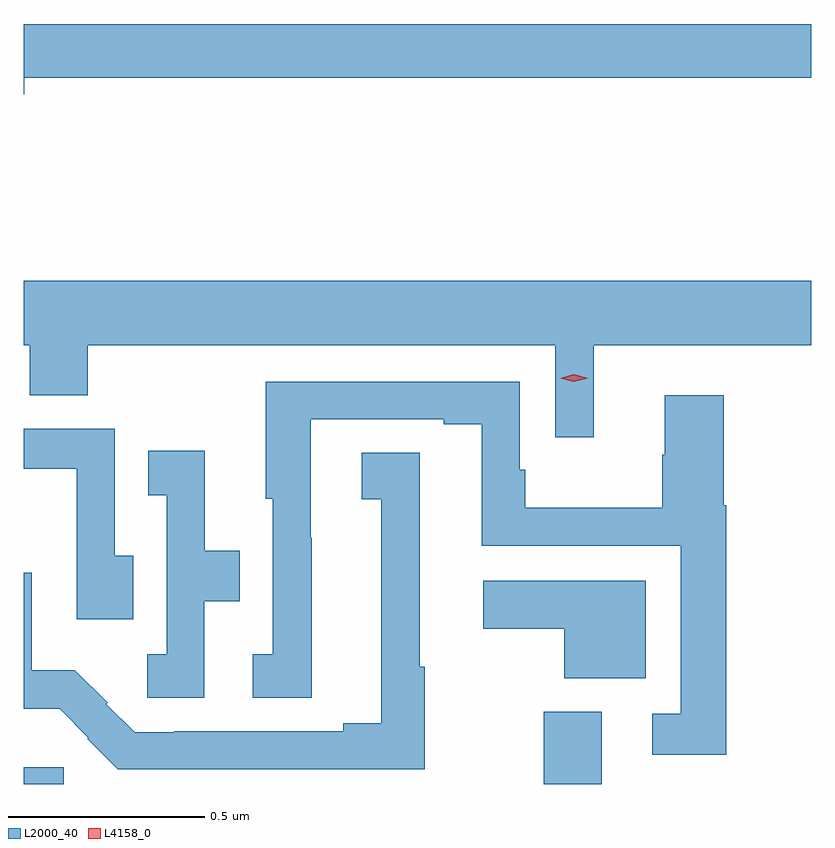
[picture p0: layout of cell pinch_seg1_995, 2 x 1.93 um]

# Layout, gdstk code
import gdstk
lib = gdstk.Library(unit=1e-6, precision=1e-09)
def R(c, l, rs):  # rectangles x0, y0, x1, y1
    for r in rs: c.add(gdstk.rectangle(r[:2], r[2:], *l))
def P(c, l, *ps):  # polygons
    for p in ps: c.add(gdstk.Polygon(p, *l))
L2000_40 = (2000, 40)
L4158_0 = (4158, 0)

pinch_seg1_995 = lib.new_cell('pinch_seg1_995')
R(pinch_seg1_995, L2000_40, [(328.449,510.658,328.551,510.7), (329.77,510.658,329.917,510.841)])
P(pinch_seg1_995, L2000_40, [(328.45,512.452),(330.449,512.452),(330.449,512.588),(328.449,512.588),(328.449,512.41),(328.45,512.41)],
  [(329.897,511.772),(330.449,511.772),(330.449,511.936),(328.449,511.936),(328.449,511.772),(328.464,511.772),(328.464,511.645),(328.611,511.645),(328.611,511.772),(329.799,511.772),(329.799,511.539),(329.897,511.539)],
  [(330.233,511.366),(330.227,511.366),(330.227,511.645),(330.077,511.645),(330.077,511.494),(330.07,511.494),(330.07,511.36),(329.722,511.36),(329.722,511.456),(329.709,511.456),(329.709,511.68),(329.063,511.68),(329.063,511.383),(329.082,511.383),(329.082,510.988),(329.031,510.988),(329.031,510.877),(329.18,510.877),(329.18,511.283),(329.178,511.283),(329.178,511.584),(329.516,511.584),(329.516,511.572),(329.612,511.572),(329.612,511.263),(330.117,511.263),(330.117,510.837),(330.045,510.837),(330.045,510.732),(330.233,510.732)],
  [(328.727,511.238),(328.68,511.238),(328.68,511.56),(328.449,511.56),(328.449,511.459),(328.584,511.459),(328.584,511.077),(328.727,511.077)],
  [(328.908,511.122),(328.997,511.122),(328.997,511.25),(328.909,511.25),(328.909,511.504),(328.765,511.504),(328.765,511.391),(328.812,511.391),(328.812,510.988),(328.763,510.988),(328.763,510.877),(328.908,510.877)],
  [(329.467,510.956),(329.455,510.956),(329.455,511.499),(329.307,511.499),(329.307,511.381),(329.357,511.381),(329.357,510.812),(329.261,510.812),(329.261,510.792),(328.831,510.792),(328.831,510.789),(328.731,510.789),(328.659,510.861),(328.662,510.864),(328.579,510.947),(328.47,510.947),(328.47,511.195),(328.449,511.195),(328.449,510.849),(328.54,510.849),(328.613,510.776),(328.61,510.773),(328.688,510.696),(329.467,510.696)],
  [(330.028,511.174),(329.616,511.174),(329.616,511.052),(329.822,511.052),(329.822,510.926),(330.028,510.926)])
P(pinch_seg1_995, L4158_0, [(329.846,511.679),(329.811,511.689),(329.81,511.689),(329.811,511.689),(329.846,511.699),(329.882,511.689),(329.882,511.689),(329.882,511.689)])

lib.write_gds('pinch_seg1_995.gds')
